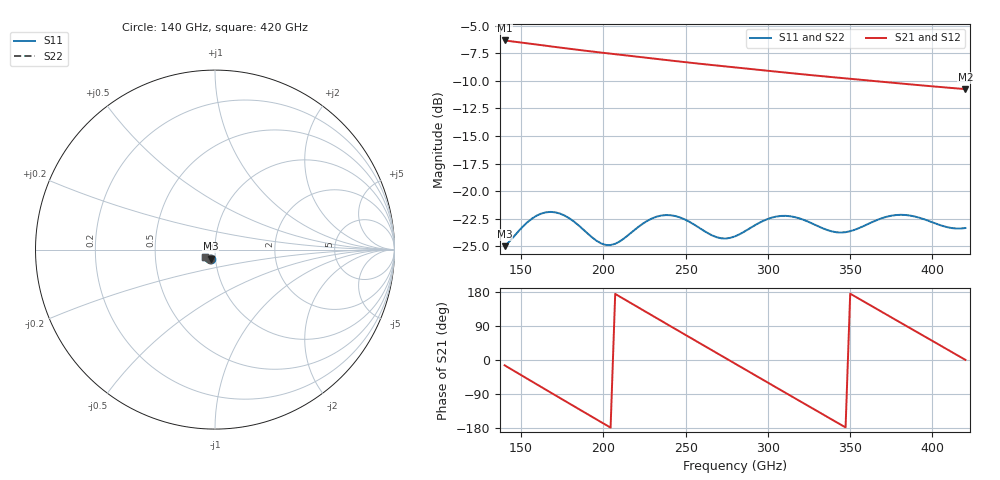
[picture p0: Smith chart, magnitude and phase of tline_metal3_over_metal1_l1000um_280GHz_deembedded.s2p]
! Created with skrf 2.2.0 (http://scikit-rf.org).
# GHz S DB R 50.0
! Port[1] = P1
! Port[2] = P2
!freq dBS11 angS11 dBS21 angS21 dBS12 angS12 dBS22 angS22
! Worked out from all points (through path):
!   101 points, 140 GHz to 420 GHz, reference 50 ohm
!   highest |S21| = -6.32 dB at 140 GHz (marker M1); lowest = -10.7 dB at 420 GHz (marker M2)
!   group delay of S21, straight-line fit = 6.99 ps
!   lowest |S11| = -25.0 dB at 140 GHz (marker M3), VSWR 1.12, Z = 47.4 - j4.8 ohm
!   |S11| at or under -10 dB: start of sweep to end of sweep
!   |S22| runs from -25.0 to -21.9 dB; largest |S21 - S12| = 4.8e-14
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140  -25.01 -116.0  -6.32 -14.0  -6.32 -14.0  -24.95 -116.4
154  -22.81 -115.0  -6.59 -50.0  -6.59 -50.0  -22.79 -115.2
165.2  -21.93 -124.3  -6.81 -78.7  -6.81 -78.7  -21.90 -124.4
176.4  -22.22 -134.5  -7.02 -107.3  -7.02 -107.3  -22.18 -134.5
187.6  -23.47 -139.9  -7.23 -135.8  -7.23 -135.8  -23.40 -140.0
198.8  -24.77 -135.9  -7.43 -164.3  -7.43 -164.3  -24.68 -136.3
210  -24.57 -126.8  -7.62 167.3  -7.62 167.3  -24.51 -127.6
224  -22.96 -125.8  -7.86 131.8  -7.86 131.8  -22.95 -126.6
235.2  -22.22 -132.3  -8.05 103.4  -8.05 103.4  -22.25 -133.1
246.4  -22.39 -139.7  -8.24 75.1  -8.24 75.1  -22.44 -140.6
260.4  -23.54 -143.6  -8.47 39.9  -8.47 39.9  -23.63 -144.3
280  -24.11 -134.1  -8.77 -9.5  -8.77 -9.5  -24.22 -134.5
294  -22.95 -132.3  -8.98 -44.7  -8.98 -44.7  -23.02 -132.6
305.2  -22.31 -136.7  -9.16 -72.8  -9.16 -72.8  -22.38 -137.0
316.4  -22.37 -142.3  -9.33 -100.9  -9.33 -100.9  -22.44 -142.6
327.6  -22.99 -145.3  -9.49 -128.9  -9.49 -128.9  -23.08 -145.5
338.8  -23.66 -143.3  -9.65 -157.0  -9.65 -157.0  -23.75 -143.4
350  -23.65 -138.5  -9.81 175.0  -9.81 175.0  -23.71 -138.3
375.2  -22.23 -139.7  -10.16 112.0  -10.16 112.0  -22.23 -139.5
394.8  -22.56 -146.5  -10.42 63.2  -10.42 63.2  -22.52 -146.4
408.8  -23.27 -145.6  -10.60 28.3  -10.60 28.3  -23.22 -145.5
420  -23.36 -141.7  -10.74 0.4  -10.74 0.4  -23.28 -141.6
